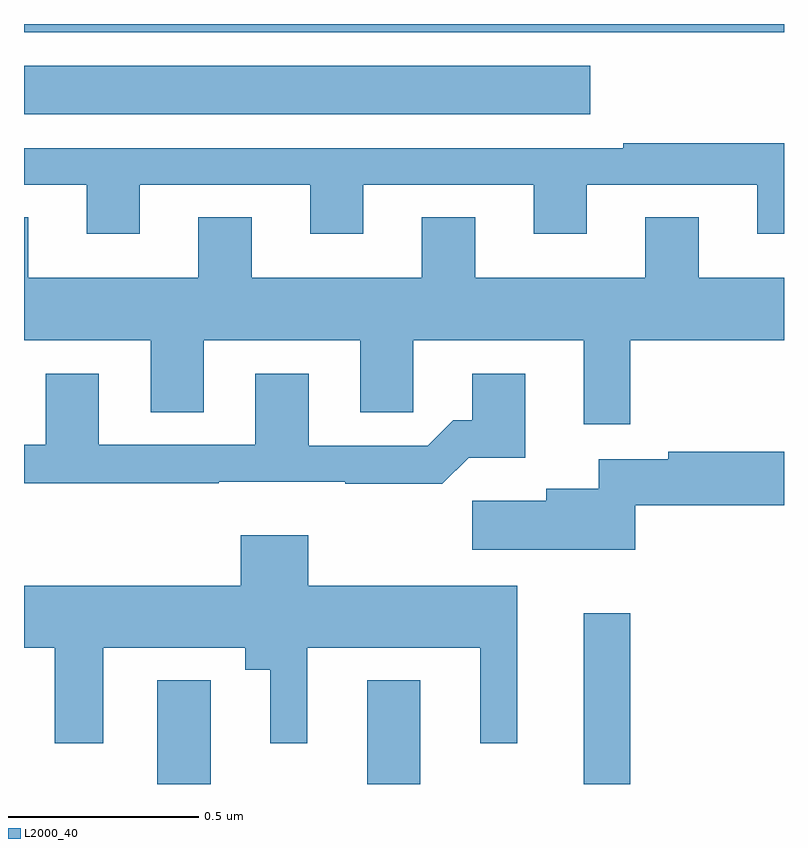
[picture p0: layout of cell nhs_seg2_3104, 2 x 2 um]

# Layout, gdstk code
import gdstk
lib = gdstk.Library(unit=1e-6, precision=1e-09)
def R(c, l, rs):  # rectangles x0, y0, x1, y1
    for r in rs: c.add(gdstk.rectangle(r[:2], r[2:], *l))
def P(c, l, *ps):  # polygons
    for p in ps: c.add(gdstk.Polygon(p, *l))
L2000_40 = (2000, 40)

nhs_seg2_3104 = lib.new_cell('nhs_seg2_3104')
R(nhs_seg2_3104, L2000_40, [(149.351,647.8,149.491,648.073), (149.903,647.8,150.043,648.073), (150.473,647.8,150.595,648.25), (149,649.562,150.49,649.69), (149,649.778,151,649.8)])
P(nhs_seg2_3104, L2000_40, [(149.305,649.377),(149.753,649.377),(149.753,649.248),(149.893,649.248),(149.893,649.377),(150.341,649.377),(150.341,649.248),(150.481,649.248),(150.481,649.377),(150.929,649.377),(150.929,649.248),(151,649.248),(151,649.486),(150.577,649.486),(150.577,649.473),(149,649.473),(149,649.377),(149.165,649.377),(149.165,649.248),(149.305,649.248)],
  [(150.595,648.968),(151,648.968),(151,649.132),(150.775,649.132),(150.775,649.292),(150.635,649.292),(150.635,649.132),(150.187,649.132),(150.187,649.292),(150.047,649.292),(150.047,649.132),(149.599,649.132),(149.599,649.292),(149.459,649.292),(149.459,649.132),(149.011,649.132),(149.011,649.292),(149,649.292),(149,648.968),(149.333,648.968),(149.333,648.778),(149.473,648.778),(149.473,648.968),(149.885,648.968),(149.885,648.778),(150.024,648.778),(150.024,648.968),(150.473,648.968),(150.473,648.747),(150.595,648.747)],
  [(150.17,648.659),(150.319,648.659),(150.319,648.88),(150.179,648.88),(150.179,648.757),(150.13,648.757),(150.063,648.69),(149.749,648.69),(149.749,648.88),(149.609,648.88),(149.609,648.693),(149.197,648.693),(149.197,648.88),(149.057,648.88),(149.057,648.693),(149,648.693),(149,648.592),(149.513,648.592),(149.513,648.596),(149.845,648.596),(149.845,648.59),(150.101,648.59)],
  [(150.609,648.533),(151,648.533),(151,648.675),(150.696,648.675),(150.696,648.655),(150.513,648.655),(150.513,648.577),(150.374,648.577),(150.374,648.545),(150.18,648.545),(150.18,648.416),(150.609,648.416)],
  [(149.209,648.158),(149.582,648.158),(149.582,648.101),(149.648,648.101),(149.648,647.907),(149.746,647.907),(149.746,648.158),(150.2,648.158),(150.2,647.907),(150.298,647.907),(150.298,648.322),(149.748,648.322),(149.748,648.454),(149.57,648.454),(149.57,648.322),(149,648.322),(149,648.158),(149.081,648.158),(149.081,647.907),(149.209,647.907)])

lib.write_gds('nhs_seg2_3104.gds')
